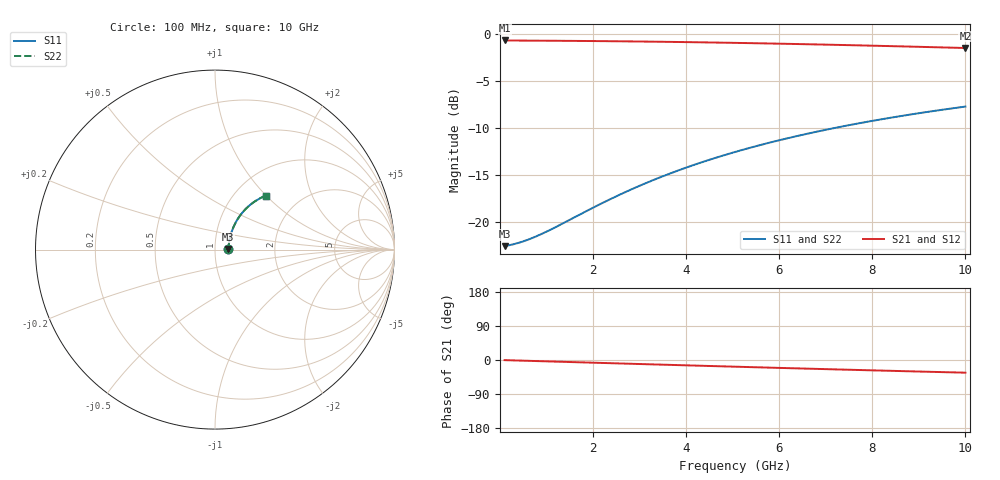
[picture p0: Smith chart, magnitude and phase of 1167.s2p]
# Hz S RI R 50.00
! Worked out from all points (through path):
!   100 points, 100 MHz to 10 GHz, reference 50 ohm
!   highest |S21| = -0.67 dB at 100 MHz (marker M1); lowest = -1.5 dB at 10 GHz (marker M2)
!   group delay of S21, straight-line fit = 9.32 ps
!   lowest |S11| = -22.6 dB at 100 MHz (marker M3), VSWR 1.16, Z = 58 + j0.481 ohm
!   |S11| at or under -10 dB: start of sweep to 7.188 GHz
!   |S22| runs from -22.6 to -7.7 dB; largest |S21 - S12| = 0
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1e8  0.0741 0.00412  0.9259 -0.00576  0.9259 -0.00576  0.0741 0.00412
3e8  0.0751 0.0123  0.9249 -0.0173  0.9249 -0.0173  0.0751 0.0123
4e8  0.0755 0.0164  0.9245 -0.023  0.9245 -0.023  0.0755 0.0164
6e8  0.0764 0.0246  0.9235 -0.0344  0.9235 -0.0344  0.0764 0.0246
8e8  0.0775 0.0328  0.9224 -0.0459  0.9224 -0.0459  0.0775 0.0328
1.2e9  0.0801 0.049  0.9197 -0.0686  0.9197 -0.0686  0.0801 0.049
1.8e9  0.0852 0.0729  0.9143 -0.1024  0.9143 -0.1024  0.0852 0.0729
2.2e9  0.0895 0.0886  0.9098 -0.1246  0.9098 -0.1246  0.0895 0.0886
2.6e9  0.0946 0.104  0.9045 -0.1465  0.9045 -0.1465  0.0946 0.104
3e9  0.1003 0.119  0.8984 -0.1681  0.8984 -0.1681  0.1003 0.119
3.4e9  0.1067 0.1337  0.8916 -0.1894  0.8916 -0.1894  0.1067 0.1337
3.8e9  0.1138 0.148  0.8842 -0.2102  0.8842 -0.2102  0.1138 0.148
4.2e9  0.1215 0.1618  0.876 -0.2307  0.876 -0.2307  0.1215 0.1618
4.6e9  0.1298 0.1752  0.8672 -0.2506  0.8672 -0.2506  0.1298 0.1752
5.1e9  0.1409 0.1912  0.8554 -0.2749  0.8554 -0.2749  0.1409 0.1912
5.5e9  0.1504 0.2034  0.8453 -0.2937  0.8453 -0.2937  0.1504 0.2034
5.9e9  0.1604 0.2151  0.8346 -0.312  0.8346 -0.312  0.1604 0.2151
6.7e9  0.1817 0.2366  0.8119 -0.3468  0.8119 -0.3468  0.1817 0.2366
7.5e9  0.2044 0.2558  0.7876 -0.3793  0.7876 -0.3793  0.2044 0.2558
8.4e9  0.2314 0.2745  0.7586 -0.4129  0.7586 -0.4129  0.2314 0.2745
9.2e9  0.2562 0.2884  0.7317 -0.4402  0.7317 -0.4402  0.2562 0.2884
1e10  0.2815 0.2999  0.7041 -0.4652  0.7041 -0.4652  0.2815 0.2999
